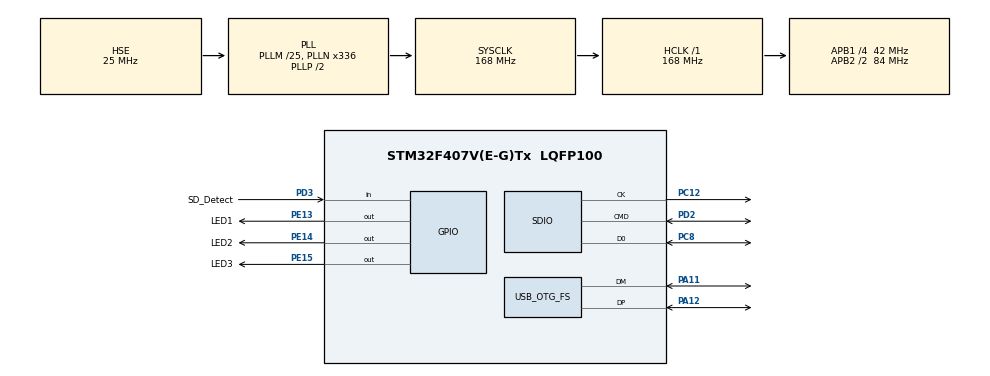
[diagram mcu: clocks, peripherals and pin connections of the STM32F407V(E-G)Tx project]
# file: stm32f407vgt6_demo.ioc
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Dma.Request0=SDIO_RX
Dma.Request1=SDIO_TX
Dma.SDIO_RX.0.Direction=DMA_PERIPH_TO_MEMORY
Dma.SDIO_RX.0.FIFOMode=DMA_FIFOMODE_ENABLE
Dma.SDIO_RX.0.FIFOThreshold=DMA_FIFO_THRESHOLD_FULL
Dma.SDIO_RX.0.Instance=DMA2_Stream3
Dma.SDIO_RX.0.MemBurst=DMA_MBURST_INC4
Dma.SDIO_RX.0.MemDataAlignment=DMA_MDATAALIGN_WORD
Dma.SDIO_RX.0.MemInc=DMA_MINC_ENABLE
Dma.SDIO_RX.0.Mode=DMA_PFCTRL
Dma.SDIO_RX.0.PeriphBurst=DMA_PBURST_INC4
Dma.SDIO_RX.0.PeriphDataAlignment=DMA_PDATAALIGN_WORD
Dma.SDIO_RX.0.PeriphInc=DMA_PINC_DISABLE
Dma.SDIO_RX.0.Priority=DMA_PRIORITY_LOW
Dma.SDIO_TX.1.Direction=DMA_MEMORY_TO_PERIPH
Dma.SDIO_TX.1.FIFOMode=DMA_FIFOMODE_ENABLE
Dma.SDIO_TX.1.FIFOThreshold=DMA_FIFO_THRESHOLD_FULL
Dma.SDIO_TX.1.Instance=DMA2_Stream6
Dma.SDIO_TX.1.MemBurst=DMA_MBURST_INC4
Dma.SDIO_TX.1.MemDataAlignment=DMA_MDATAALIGN_WORD
Dma.SDIO_TX.1.MemInc=DMA_MINC_ENABLE
Dma.SDIO_TX.1.Mode=DMA_PFCTRL
Dma.SDIO_TX.1.PeriphBurst=DMA_PBURST_INC4
Dma.SDIO_TX.1.PeriphDataAlignment=DMA_PDATAALIGN_WORD
Dma.SDIO_TX.1.PeriphInc=DMA_PINC_DISABLE
Dma.SDIO_TX.1.Priority=DMA_PRIORITY_LOW
FATFS.BSP.number=1
FATFS0.BSP.STBoard=false
FATFS0.BSP.api=Unknown
FATFS0.BSP.instance=PD3
FATFS0.BSP.ip=GPIO
FATFS0.BSP.mode=Input
FATFS0.BSP.name=Detect_SDIO
FATFS0.BSP.solution=PD3
FREERTOS.Queues01=myQueue01,1,uint32_t,0,Dynamic,NULL,NULL
FREERTOS.Tasks01=defaultTask,0,128,StartDefaultTask,Default,NULL,Dynamic,NULL,NULL;myTask02,-3,1024,StartTask02,Default,NULL,Dynamic,NULL,NULL;myTask03,-3,1024,StartTask03,Default,NULL,Dynamic,NULL,NULL
FREERTOS.configTOTAL_HEAP_SIZE=40960
FREERTOS.configUSE_NEWLIB_REENTRANT=1
Mcu.Family=STM32F4
Mcu.Name=STM32F407V(E-G)Tx
Mcu.Package=LQFP100
NVIC.DMA2_Stream3_IRQn=true\:5\:0\:false\:false\:true\:true\:false\:true\:true
NVIC.DMA2_Stream6_IRQn=true\:5\:0\:false\:false\:true\:true\:false\:true\:true
NVIC.FLASH_IRQn=true\:5\:0\:true\:false\:true\:true\:true\:true\:true
NVIC.OTG_FS_IRQn=true\:5\:0\:true\:false\:true\:false\:false\:true\:true
NVIC.PriorityGroup=NVIC_PRIORITYGROUP_4
NVIC.RCC_IRQn=true\:5\:0\:true\:false\:true\:true\:true\:false\:true
NVIC.SDIO_IRQn=true\:7\:0\:true\:false\:true\:true\:true\:true\:true
NVIC.TIM1_UP_TIM10_IRQn=true\:15\:0\:false\:false\:true\:false\:false\:true\:true
NVIC.TimeBase=TIM1_UP_TIM10_IRQn
NVIC.TimeBaseIP=TIM1
PA11.Mode=Device_Only
PA11.Signal=USB_OTG_FS_DM
PA12.Mode=Device_Only
PA12.Signal=USB_OTG_FS_DP
PA13.Mode=JTAG_4_pins
PA13.Signal=SYS_JTMS-SWDIO
PA14.Mode=JTAG_4_pins
PA14.Signal=SYS_JTCK-SWCLK
PA15.Mode=JTAG_4_pins
PA15.Signal=SYS_JTDI
PB3.Mode=JTAG_4_pins
PB3.Signal=SYS_JTDO-SWO
PC12.Mode=SD_1_bit
PC12.Signal=SDIO_CK
PC14-OSC32_IN.Mode=LSE-External-Oscillator
PC14-OSC32_IN.Signal=RCC_OSC32_IN
PC15-OSC32_OUT.Mode=LSE-External-Oscillator
PC15-OSC32_OUT.Signal=RCC_OSC32_OUT
PC8.Mode=SD_1_bit
PC8.Signal=SDIO_D0
PD2.Mode=SD_1_bit
PD2.Signal=SDIO_CMD
PD3.GPIO_Label=SD_Detect
PD3.Signal=GPIO_Input
PE13.GPIO_Label=LED1
PE13.PinState=GPIO_PIN_SET
PE13.Signal=GPIO_Output
PE14.GPIO_Label=LED2
PE14.PinState=GPIO_PIN_SET
PE14.Signal=GPIO_Output
PE15.GPIO_Label=LED3
PE15.PinState=GPIO_PIN_SET
PE15.Signal=GPIO_Output
PH0-OSC_IN.Mode=HSE-External-Oscillator
PH0-OSC_IN.Signal=RCC_OSC_IN
PH1-OSC_OUT.Mode=HSE-External-Oscillator
PH1-OSC_OUT.Signal=RCC_OSC_OUT
ProjectManager.HeapSize=0x400
ProjectManager.StackSize=0x400
ProjectManager.TargetToolchain=STM32CubeIDE
RCC.48MHZClocksFreq_Value=48000000
RCC.AHBFreq_Value=168000000
RCC.APB1CLKDivider=RCC_HCLK_DIV4
RCC.APB1Freq_Value=42000000
RCC.APB1TimFreq_Value=84000000
RCC.APB2CLKDivider=RCC_HCLK_DIV2
RCC.APB2Freq_Value=84000000
RCC.APB2TimFreq_Value=168000000
RCC.CortexFreq_Value=168000000
RCC.HCLKFreq_Value=168000000
RCC.HSE_VALUE=25000000
RCC.HSI_VALUE=16000000
RCC.PLLM=25
RCC.PLLN=336
RCC.PLLQ=7
RCC.SYSCLKFreq_VALUE=168000000
RCC.SYSCLKSource=RCC_SYSCLKSOURCE_PLLCLK
RCC.VCOOutputFreq_Value=336000000
SDIO.ClockDiv=2
USB_DEVICE.CLASS_NAME_FS=CDC
USB_DEVICE.VirtualMode-CDC_FS=Cdc
USB_DEVICE.VirtualModeFS=Cdc_FS
USB_OTG_FS.VirtualMode=Device_Only
VP_CRC_VS_CRC.Mode=CRC_Activate
VP_FATFS_VS_SDIO.Mode=SDIO
VP_FREERTOS_VS_CMSIS_V1.Mode=CMSIS_V1
VP_SYS_VS_tim1.Mode=TIM1
VP_USB_DEVICE_VS_USB_DEVICE_CDC_FS.Mode=CDC_FS
board=custom

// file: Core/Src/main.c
/* USER CODE BEGIN Header */
/**
  ******************************************************************************
  * @file           : main.c
  * @brief          : Main program body
  ******************************************************************************
  * @attention
  *
  * Copyright (c) 2024 STMicroelectronics.
  * All rights reserved.
  *
  * This software is licensed under terms that can be found in the LICENSE file
  * in the root directory of this software component.
  * If no LICENSE file comes with this software, it is provided AS-IS.
  *
  ******************************************************************************
  */
/* USER CODE END Header */
#include "main.h"
#include "cmsis_os.h"
#include "crc.h"
#include "dma.h"
#include "fatfs.h"
#include "sdio.h"
#include "usb_device.h"
#include "gpio.h"

/* USER CODE BEGIN PV */
uint32_t FirmWareNeedUpdateFlag = 0;
#define FIRMWARE_UPDATE_FLAG_ADDR  0x80E0000
/* USER CODE END PV */

void SystemClock_Config(void);
void MX_FREERTOS_Init(void);

int main(void)
{

  /* USER CODE BEGIN 1 */
	FirmWareNeedUpdateFlag = *(uint32_t*)(FIRMWARE_UPDATE_FLAG_ADDR);
  /* USER CODE END 1 */

  /* MCU Configuration--------------------------------------------------------*/

  /* Reset of all peripherals, Initializes the Flash interface and the Systick. */
  HAL_Init();

  /* Configure the system clock */
  SystemClock_Config();

  /* Initialize all configured peripherals */
  MX_GPIO_Init();
  MX_DMA_Init();
  MX_SDIO_SD_Init();
  MX_FATFS_Init();
  MX_CRC_Init();

  /* Call init function for freertos objects (in cmsis_os2.c) */
  MX_FREERTOS_Init();

  /* Start scheduler */
  osKernelStart();

  /* We should never get here as control is now taken by the scheduler */

  /* Infinite loop */
  while (1)
  {

    /* USER CODE BEGIN 3 */
	  //HAL_Delay(1000);
  }
  /* USER CODE END 3 */
}

void SystemClock_Config(void)
{
  RCC_OscInitTypeDef RCC_OscInitStruct = {0};
  RCC_ClkInitTypeDef RCC_ClkInitStruct = {0};

  /** Configure the main internal regulator output voltage
  */
  __HAL_RCC_PWR_CLK_ENABLE();
  __HAL_PWR_VOLTAGESCALING_CONFIG(PWR_REGULATOR_VOLTAGE_SCALE1);

  /** Initializes the RCC Oscillators according to the specified parameters
  * in the RCC_OscInitTypeDef structure.
  */
  RCC_OscInitStruct.OscillatorType = RCC_OSCILLATORTYPE_HSE;
  RCC_OscInitStruct.HSEState = RCC_HSE_ON;
  RCC_OscInitStruct.PLL.PLLState = RCC_PLL_ON;
  RCC_OscInitStruct.PLL.PLLSource = RCC_PLLSOURCE_HSE;
  RCC_OscInitStruct.PLL.PLLM = 25;
  RCC_OscInitStruct.PLL.PLLN = 336;
  RCC_OscInitStruct.PLL.PLLP = RCC_PLLP_DIV2;
  RCC_OscInitStruct.PLL.PLLQ = 7;
  if (HAL_RCC_OscConfig(&RCC_OscInitStruct) != HAL_OK)
  {
    Error_Handler();
  }

  /** Initializes the CPU, AHB and APB buses clocks
  */
  RCC_ClkInitStruct.ClockType = RCC_CLOCKTYPE_HCLK|RCC_CLOCKTYPE_SYSCLK
                              |RCC_CLOCKTYPE_PCLK1|RCC_CLOCKTYPE_PCLK2;
  RCC_ClkInitStruct.SYSCLKSource = RCC_SYSCLKSOURCE_PLLCLK;
  RCC_ClkInitStruct.AHBCLKDivider = RCC_SYSCLK_DIV1;
  RCC_ClkInitStruct.APB1CLKDivider = RCC_HCLK_DIV4;
  RCC_ClkInitStruct.APB2CLKDivider = RCC_HCLK_DIV2;

  if (HAL_RCC_ClockConfig(&RCC_ClkInitStruct, FLASH_LATENCY_5) != HAL_OK)
  {
    Error_Handler();
  }
}

void HAL_TIM_PeriodElapsedCallback(TIM_HandleTypeDef *htim)
{
  if (htim->Instance == TIM1) {
    HAL_IncTick();
  }
}

void Error_Handler(void)
{
  __disable_irq();
  while (1)
  {
  }
}

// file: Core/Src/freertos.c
/* USER CODE BEGIN Header */
/**
  ******************************************************************************
  * File Name          : freertos.c
  * Description        : Code for freertos applications
  ******************************************************************************
  * @attention
  *
  * Copyright (c) 2024 STMicroelectronics.
  * All rights reserved.
  *
  * This software is licensed under terms that can be found in the LICENSE file
  * in the root directory of this software component.
  * If no LICENSE file comes with this software, it is provided AS-IS.
  *
  ******************************************************************************
  */
/* USER CODE END Header */

#include "FreeRTOS.h"
#include "task.h"
#include "main.h"
#include "cmsis_os.h"

/* USER CODE BEGIN Includes */
#include <stdbool.h>
#include "ff.h"
#include "fatfs.h"
#include <string.h>
#include "usb_device.h"
/* USER CODE END Includes */

/* USER CODE BEGIN PD */
#define APP_START_ADDRESS   	  0x8020000
#define APPUPDATE_FLAG_ADDRESS    0x80E0000
/* USER CODE END PD */

/* USER CODE BEGIN Variables */
uint8_t FileSysInit = false;
uint8_t FileRecvFinished = false;
uint8_t FirewareHasUpdated = false;
/* USER CODE END Variables */
osThreadId defaultTaskHandle;
osThreadId myTask02Handle;
osThreadId myTask03Handle;
osMessageQId myQueue01Handle;
extern USBD_HandleTypeDef hUsbDeviceFS;
extern TIM_HandleTypeDef htim1;

void StartDefaultTask(void const * argument);
void StartTask02(void const * argument);
void StartTask03(void const * argument);

extern void MX_USB_DEVICE_Init(void);
void MX_FREERTOS_Init(void); /* (MISRA C 2004 rule 8.1) */

/* GetIdleTaskMemory prototype (linked to static allocation support) */
void vApplicationGetIdleTaskMemory( StaticTask_t **ppxIdleTaskTCBBuffer, StackType_t **ppxIdleTaskStackBuffer, uint32_t *pulIdleTaskStackSize );

/* USER CODE BEGIN GET_IDLE_TASK_MEMORY */
static StaticTask_t xIdleTaskTCBBuffer;
static StackType_t xIdleStack[configMINIMAL_STACK_SIZE];

void vApplicationGetIdleTaskMemory( StaticTask_t **ppxIdleTaskTCBBuffer, StackType_t **ppxIdleTaskStackBuffer, uint32_t *pulIdleTaskStackSize )
{
  *ppxIdleTaskTCBBuffer = &xIdleTaskTCBBuffer;
  *ppxIdleTaskStackBuffer = &xIdleStack[0];
  *pulIdleTaskStackSize = configMINIMAL_STACK_SIZE;
  /* place for user code */
}
/* USER CODE END GET_IDLE_TASK_MEMORY */

void MX_FREERTOS_Init(void) {

  /* Create the queue(s) */
  /* definition and creation of myQueue01 */
  osMessageQDef(myQueue01, 1, uint32_t);
  myQueue01Handle = osMessageCreate(osMessageQ(myQueue01), NULL);

  /* Create the thread(s) */
  /* definition and creation of defaultTask */
  osThreadDef(defaultTask, StartDefaultTask, osPriorityNormal, 0, 128);
  defaultTaskHandle = osThreadCreate(osThread(defaultTask), NULL);

  /* definition and creation of myTask02 */
  osThreadDef(myTask02, StartTask02, osPriorityIdle, 0, 1024);
  myTask02Handle = osThreadCreate(osThread(myTask02), NULL);

  /* definition and creation of myTask03 */
  osThreadDef(myTask03, StartTask03, osPriorityIdle, 0, 1024);
  myTask03Handle = osThreadCreate(osThread(myTask03), NULL);

}

/* USER CODE BEGIN Header_StartDefaultTask */
/**
  * @brief  Function implementing the defaultTask thread.
  * @param  argument: Not used
  * @retval None
  */

void run_to_app(void)
{
	typedef void(*app_entry_t)(void);

	HAL_TIM_Base_Stop_IT(&htim1);
	HAL_NVIC_DisableIRQ(TIM1_UP_TIM10_IRQn);
	htim1.Instance->CNT = 0;

	USBD_Stop(&hUsbDeviceFS);

	__disable_irq();

	__set_MSP(*(__IO uint32_t*)APP_START_ADDRESS);
	__set_CONTROL(0);
	__set_PSP(0);

	app_entry_t app_entry = (app_entry_t)*(__IO uint32_t*)(APP_START_ADDRESS + 4);
	app_entry();

}
/* USER CODE END Header_StartDefaultTask */
void StartDefaultTask(void const * argument)
{
  /* init code for USB_DEVICE */
  MX_USB_DEVICE_Init();
  /* USER CODE BEGIN StartDefaultTask */
  /* Infinite loop */
  for(;;)
  {
	  //no app firmware or have need to update flag, all use the flag FirmWareNeedUpdateFlag
	if(((*(uint32_t*)(APP_START_ADDRESS)) == 0xffffffff) || ((*(uint32_t*)(APP_START_ADDRESS)) == 0x0))
	{
		FirmWareNeedUpdateFlag = 0x55AA;
	}

	if(FirewareHasUpdated || 0 == FirmWareNeedUpdateFlag)
	{
		run_to_app();
	}
	else
	{
		HAL_GPIO_TogglePin(LED1_GPIO_Port, LED1_Pin);
		osDelay(1000);
	}
  }
  /* USER CODE END StartDefaultTask */
}

/* USER CODE BEGIN Header_StartTask02 */
/**
* @brief Function implementing the myTask02 thread.
* @param argument: Not used
* @retval None
*/
const uint32_t crc32_table[256] =
{
	 0x00000000, 0x77073096, 0xee0e612c, 0x990951ba,
	 0x076dc419, 0x706af48f, 0xe963a535, 0x9e6495a3,
	 0x0edb8832, 0x79dcb8a4, 0xe0d5e91e, 0x97d2d988,
	 0x09b64c2b, 0x7eb17cbd, 0xe7b82d07, 0x90bf1d91,
	 0x1db71064, 0x6ab020f2, 0xf3b97148, 0x84be41de,
	 0x1adad47d, 0x6ddde4eb, 0xf4d4b551, 0x83d385c7,
	 0x136c9856, 0x646ba8c0, 0xfd62f97a, 0x8a65c9ec,
	 0x14015c4f, 0x63066cd9, 0xfa0f3d63, 0x8d080df5,
	 0x3b6e20c8, 0x4c69105e, 0xd56041e4, 0xa2677172,
	 0x3c03e4d1, 0x4b04d447, 0xd20d85fd, 0xa50ab56b,
	 0x35b5a8fa, 0x42b2986c, 0xdbbbc9d6, 0xacbcf940,
	 0x32d86ce3, 0x45df5c75, 0xdcd60dcf, 0xabd13d59,
	 0x26d930ac, 0x51de003a, 0xc8d75180, 0xbfd06116,
	 0x21b4f4b5, 0x56b3c423, 0xcfba9599, 0xb8bda50f,
	 0x2802b89e, 0x5f058808, 0xc60cd9b2, 0xb10be924,
	 0x2f6f7c87, 0x58684c11, 0xc1611dab, 0xb6662d3d,
	 0x76dc4190, 0x01db7106, 0x98d220bc, 0xefd5102a,
	 0x71b18589, 0x06b6b51f, 0x9fbfe4a5, 0xe8b8d433,
	 0x7807c9a2, 0x0f00f934, 0x9609a88e, 0xe10e9818,
	 0x7f6a0dbb, 0x086d3d2d, 0x91646c97, 0xe6635c01,
	 0x6b6b51f4, 0x1c6c6162, 0x856530d8, 0xf262004e,
	 0x6c0695ed, 0x1b01a57b, 0x8208f4c1, 0xf50fc457,
	 0x65b0d9c6, 0x12b7e950, 0x8bbeb8ea, 0xfcb9887c,
	 0x62dd1ddf, 0x15da2d49, 0x8cd37cf3, 0xfbd44c65,
	 0x4db26158, 0x3ab551ce, 0xa3bc0074, 0xd4bb30e2,
	 0x4adfa541, 0x3dd895d7, 0xa4d1c46d, 0xd3d6f4fb,
	 0x4369e96a, 0x346ed9fc, 0xad678846, 0xda60b8d0,
	 0x44042d73, 0x33031de5, 0xaa0a4c5f, 0xdd0d7cc9,
	 0x5005713c, 0x270241aa, 0xbe0b1010, 0xc90c2086,
	 0x5768b525, 0x206f85b3, 0xb966d409, 0xce61e49f,
	 0x5edef90e, 0x29d9c998, 0xb0d09822, 0xc7d7a8b4,
	 0x59b33d17, 0x2eb40d81, 0xb7bd5c3b, 0xc0ba6cad,
	 0xedb88320, 0x9abfb3b6, 0x03b6e20c, 0x74b1d29a,
	 0xead54739, 0x9dd277af, 0x04db2615, 0x73dc1683,
	 0xe3630b12, 0x94643b84, 0x0d6d6a3e, 0x7a6a5aa8,
	 0xe40ecf0b, 0x9309ff9d, 0x0a00ae27, 0x7d079eb1,
	 0xf00f9344, 0x8708a3d2, 0x1e01f268, 0x6906c2fe,
	 0xf762575d, 0x806567cb, 0x196c3671, 0x6e6b06e7,
	 0xfed41b76, 0x89d32be0, 0x10da7a5a, 0x67dd4acc,
	 0xf9b9df6f, 0x8ebeeff9, 0x17b7be43, 0x60b08ed5,
	 0xd6d6a3e8, 0xa1d1937e, 0x38d8c2c4, 0x4fdff252,
	 0xd1bb67f1, 0xa6bc5767, 0x3fb506dd, 0x48b2364b,
	 0xd80d2bda, 0xaf0a1b4c, 0x36034af6, 0x41047a60,
	 0xdf60efc3, 0xa867df55, 0x316e8eef, 0x4669be79,
	 0xcb61b38c, 0xbc66831a, 0x256fd2a0, 0x5268e236,
	 0xcc0c7795, 0xbb0b4703, 0x220216b9, 0x5505262f,
	 0xc5ba3bbe, 0xb2bd0b28, 0x2bb45a92, 0x5cb36a04,
	 0xc2d7ffa7, 0xb5d0cf31, 0x2cd99e8b, 0x5bdeae1d,
	 0x9b64c2b0, 0xec63f226, 0x756aa39c, 0x026d930a,
	 0x9c0906a9, 0xeb0e363f, 0x72076785, 0x05005713,
	 0x95bf4a82, 0xe2b87a14, 0x7bb12bae, 0x0cb61b38,
	 0x92d28e9b, 0xe5d5be0d, 0x7cdcefb7, 0x0bdbdf21,
	 0x86d3d2d4, 0xf1d4e242, 0x68ddb3f8, 0x1fda836e,
	 0x81be16cd, 0xf6b9265b, 0x6fb077e1, 0x18b74777,
	 0x88085ae6, 0xff0f6a70, 0x66063bca, 0x11010b5c,
	 0x8f659eff, 0xf862ae69, 0x616bffd3, 0x166ccf45,
	 0xa00ae278, 0xd70dd2ee, 0x4e048354, 0x3903b3c2,
	 0xa7672661, 0xd06016f7, 0x4969474d, 0x3e6e77db,
	 0xaed16a4a, 0xd9d65adc, 0x40df0b66, 0x37d83bf0,
	 0xa9bcae53, 0xdebb9ec5, 0x47b2cf7f, 0x30b5ffe9,
	 0xbdbdf21c, 0xcabac28a, 0x53b39330, 0x24b4a3a6,
	 0xbad03605, 0xcdd70693, 0x54de5729, 0x23d967bf,
	 0xb3667a2e, 0xc4614ab8, 0x5d681b02, 0x2a6f2b94,
	 0xb40bbe37, 0xc30c8ea1, 0x5a05df1b, 0x2d02ef8d
};

uint32_t calculate_crc32(uint8_t *data, uint32_t len, uint32_t crc)
{
	uint32_t i;
	for (i=0; i < len; i ++)
	{
		crc = ( crc >> 8) ^crc32_table[(crc ^ data[i] ) & 0xff];
	}
	return crc ;
}
/* USER CODE END Header_StartTask02 */
void StartTask02(void const * argument)
{
  /* USER CODE BEGIN StartTask02 */

	FRESULT ret = FR_INT_ERR;
	uint32_t count = 0;
	static uint32_t totalcnt = 0;
	static uint8_t hearderRcv = false;
	FILINFO file_info;
	static uint32_t crc_value = 0xffffffff;
//	uint32_t filesize = 0;
//	uint32_t i;

  /* Infinite loop */
  for(;;)
  {
	if(0x55AA == FirmWareNeedUpdateFlag)
	{
		if(false == FileSysInit)
		{
			ret = f_mount (&SDFatFS, SDPath, 1);
			if(ret == FR_OK)
			{
				f_stat("ff.bin",&file_info);
				if(file_info.fsize>0)
				{
					f_unlink ("ff.bin");
				}
				ret = f_open (&SDFile, "ff.bin",FA_OPEN_ALWAYS|FA_WRITE|FA_READ);
				if(ret == FR_OK)
				{
					FileSysInit = true;
					crc_value = 0xffffffff;
					//USB_Printf("SD card init success!\r\n");
				}
			}
			osDelay(2000);
		}
		else
		{
			//USB_Printf("waiting data ... \r\n");
			osEvent UserDataEvent = osMessageGet (myQueue01Handle, 1000);
			if(UserDataEvent.status == osEventMessage)
			{
				if(hearderRcv)
				{
					f_lseek(&SDFile,f_size(&SDFile));
					ret = f_write(&SDFile, (uint8_t*)UserDataEvent.value.v, 64, &count);
					if((FR_OK == ret)&&(64 == count))
					{
						f_sync (&SDFile);
						totalcnt -=count;
					}
					if(0 == totalcnt)
					{
						//f_sync (&SDFile);
						//calc crc32
	//					f_rewind(&SDFile);
	//					uint8_t* databuf = pvPortMalloc(sizeof(uint8_t)*64);
	//					if(databuf != NULL)
	//					{
	//						filesize = f_size(&SDFile);
	//						for(i = 0; i < filesize/64;i++)
	//						{
	//							ret = f_read(&SDFile, databuf, 64, &count);
	//							crc_value = calculate_crc32(databuf, 64, crc_value);
	//							f_lseek (&SDFile, (i+1)*64);
	//							osDelay(100);
	//						}
	//					}
	//					vPortFree(databuf);
						f_close(&SDFile);

						USB_Printf("Receive Data Finished, the crc32 is %x.\r\n",crc_value);
						FileRecvFinished = true;
					}
				}
				else if(*((uint16_t*)UserDataEvent.value.v) == 0x55AA)
				{
					hearderRcv = true;
					totalcnt = *((uint32_t*)(((uint8_t*)UserDataEvent.value.v)+2));
					//USB_Printf("Receive header, the data length to receive is %d\r\n",totalcnt);
				}
			}
			//osDelay(100);
		}
	}
	else
	{
		osDelay(1000);
	}
  }
  /* USER CODE END StartTask02 */
}

/* USER CODE BEGIN Header_StartTask03 */
/**
* @brief Function implementing the myTask03 thread.
* @param argument: Not used
* @retval None
*/
#define FLASHACCESS_VALUE_EMPTY					0xFFFFFFFF						//!< Value for empty flash

#define	FLASHACCESS_SIZE_FLASH					((1024 - 128 - 128) * 1024)			//!< Total size of flash
#define FLASHACCESS_SECTOR_SIZE					(128 * 1024)					//!< Size of one sector [byte]
#define FLASHACCESS_SECTOR_MIN					5								//!< First sector to use
#define FLASHACCESS_SECTOR_MAX					10								//!< Last sector to use

#define FLASHACCESS_ADDRESS_MIN					0x08020000 						//!< First available address in flash
#define FLASHACCESS_ADDRESS_MAX					0x080FFFFF - 0x20000 			//!< Last available address in flash

#define FLASHACCESS_SECTOR_OF(address)			((((address) - 0x08020000) / FLASHACCESS_SECTOR_SIZE) + FLASHACCESS_SECTOR_MIN)				//!< Get the sector for an address
#define FLASHACCESS_IS_ADDRESS_VALID(address)	((address) >= FLASHACCESS_ADDRESS_MIN && (address) <= FLASHACCESS_ADDRESS_MAX - 3)			//!< Check if an address is valid
#define FLASHACCESS_ADDRESS_OF_SECTOR(sector)	(FLASHACCESS_ADDRESS_MIN + ((sector - FLASHACCESS_SECTOR_MIN) * FLASHACCESS_SECTOR_SIZE))	//!< Starting address of a given sector

bool FlashAccess_Clear (const uint8_t indexSector, const uint32_t length)
{
	uint32_t Result = 0;

	// determine number of sectors (at least one)
	uint32_t NumberOfSectors = (length + FLASHACCESS_SECTOR_SIZE - 1) / FLASHACCESS_SECTOR_SIZE;

	// check that the region is ok and in-between min and max sectors
	if (indexSector >= FLASHACCESS_SECTOR_MIN &&
			indexSector + NumberOfSectors - 1 <= FLASHACCESS_SECTOR_MAX)
	{
		// unlock the flash and clear the sectors
		HAL_FLASH_Unlock();

		FLASH_EraseInitTypeDef EraseInitStruct;
		EraseInitStruct.TypeErase = FLASH_TYPEERASE_SECTORS;
		EraseInitStruct.VoltageRange = FLASH_VOLTAGE_RANGE_3;
		EraseInitStruct.Sector = indexSector;
		EraseInitStruct.NbSectors = NumberOfSectors;

		// erase the flash sector
		Result = HAL_FLASHEx_Erase(&EraseInitStruct, &Result) == HAL_OK;
	}

	return (bool)Result;
}

bool FlashAccess_Write (const uint32_t address, const uint32_t value)
{
	bool Result = false;

	// make sure that it is a valid flash range
	if (FLASHACCESS_IS_ADDRESS_VALID(address))
	{
		// unlock the flash and write the value
		HAL_FLASH_Unlock();
		Result = HAL_FLASH_Program(FLASH_TYPEPROGRAM_WORD, address, value) == HAL_OK;
	}

	return Result;
}
void FlashClearFlag(void)
{
	FLASH_EraseInitTypeDef EraseInitStruct;
	uint32_t Result;
	HAL_FLASH_Unlock();

	EraseInitStruct.TypeErase = FLASH_TYPEERASE_SECTORS;
	EraseInitStruct.VoltageRange = FLASH_VOLTAGE_RANGE_3;
	EraseInitStruct.Sector = 11;
	EraseInitStruct.NbSectors = 1;

	// erase the flash sector
	HAL_FLASHEx_Erase(&EraseInitStruct, &Result);
	HAL_FLASH_Program(FLASH_TYPEPROGRAM_WORD, APPUPDATE_FLAG_ADDRESS, 0);

}
/* USER CODE END Header_StartTask03 */
void StartTask03(void const * argument)
{
  /* USER CODE BEGIN StartTask03 */
	FRESULT ret = FR_INT_ERR;
	uint32_t filesize;
	uint32_t address_end;
	uint8_t data[4];
	uint32_t count;
  /* Infinite loop */
  for(;;)
  {
	 if(FileRecvFinished)
	 {
		ret = f_open (&SDFile, "ff.bin", FA_READ);
		filesize = f_size(&SDFile);
		address_end = FLASHACCESS_ADDRESS_MIN + filesize;
		if(ret == FR_OK)
		{
			FlashAccess_Clear(FLASHACCESS_SECTOR_OF(FLASHACCESS_ADDRESS_MIN), FLASHACCESS_SIZE_FLASH);

			for (uint32_t Add = FLASHACCESS_ADDRESS_MIN; Add < address_end; )
			{
				ret = f_read(&SDFile, data, 4, &count);
				FlashAccess_Write(Add, *((uint32_t*)data));
				Add += sizeof(uint32_t);
				f_lseek(&SDFile,(Add-FLASHACCESS_ADDRESS_MIN));
			}
		}
		f_close(&SDFile);
		FileRecvFinished = false;
		FlashClearFlag();
		FirewareHasUpdated = true;
	 }
	 osDelay(1000);
   }

  /* USER CODE END StartTask03 */
}
